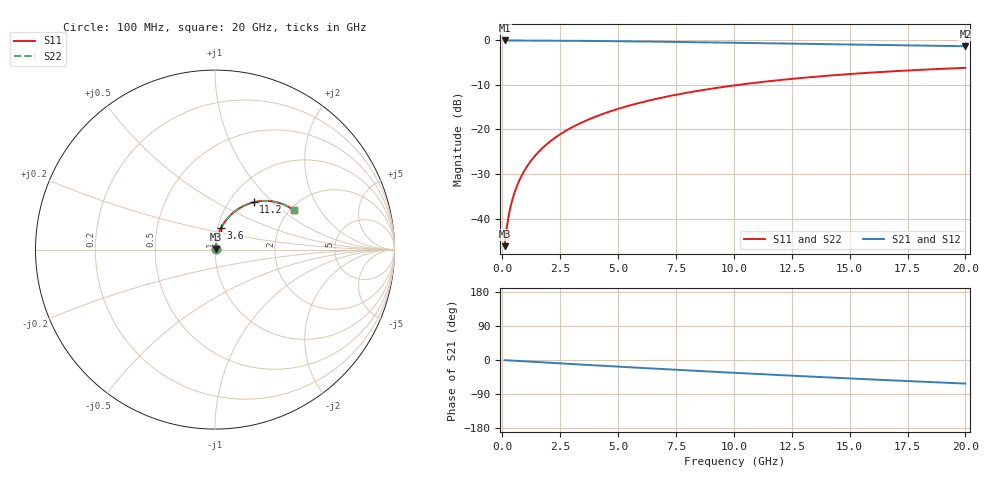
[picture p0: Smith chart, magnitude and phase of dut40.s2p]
! Touchstone file exported from HFSS 2026.1.0
!  File:  C:/ffzhzh/LocalFiles/Ansys_Project_Files/temp_train_BSMRDL_40_1782882351_8056.aedt
!  Generated:  01:07:16 PM Jul  1, 2026
!  Design:  BSMRDL
!  Project:  temp_train_BSMRDL_40_1782882351_8056
! Variables:
!  h_bsmrdl = 4.98um
!  h_ox = 20um
!  h_rdl = 5um
!  h_sub = 80um
!  h_tmrdl = 5um
!  h_tsv = 80um
!  h_via = 3um
!  l_bsmrdl = 992.42um
!  l_sub = 1392.42um
!  l_tmrdl = 200um
!  m_sub = 200um
!  pitch = 56.53um
!  r_tsv = 6um
!  s_tmrdl = 10um
!  w_bsmrdl = 25.21um
!  w_sub = 500um
!  w_tmrdl = 12um
!  x_tsv_center1 = 206um
!  x_tsv_center2 = 1223.63um
!  x_tsv_center3 = 1435.63um
!  x_tsv_center4 = 2453.26um
!  x_tsv_center5 = 2665.26um
!  x_tsv_center6 = 3682.89um
# GHz S MA R 50.000000
! Terminal data exported
! Port[1] = BSM_RDL1_1_T1
! Port[2] = BSM_RDL1_1_T2
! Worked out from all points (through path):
!   200 points, 100 MHz to 20 GHz, reference 50 ohm
!   highest |S21| = -0.03 dB at 100 MHz (marker M1); lowest = -1.3 dB at 20 GHz (marker M2)
!   group delay of S21, straight-line fit = 8.64 ps
!   lowest |S11| = -46.2 dB at 100 MHz (marker M3), VSWR 1.01, Z = 50.3 + j0.389 ohm
!   |S11| at or under -10 dB: start of sweep to 10.18 GHz
!   |S22| runs from -46.2 to -6.2 dB; largest |S21 - S12| = 2.1e-14
!   S11 on the Smith chart (normalised r, x): 100 MHz: 1.01, +0.01; 3.6 GHz: 1.04, +0.25; 11.2 GHz: 1.29, +0.77; 20 GHz: 2.10, +1.21
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0.1  0.004911 51.9  0.997 -0.4  0.997 -0.4  0.004911 51.9
! Gamma 0 0 0 0
! Port Impedance 50 0 50 0
0.2  0.008239 66.1  0.9967 -0.7  0.9967 -0.7  0.008239 66.1
0.3  0.01166 71.9  0.9965 -1.1  0.9965 -1.1  0.01166 71.9
0.4  0.01511 75.0  0.9964 -1.5  0.9964 -1.5  0.01511 75.0
0.5  0.01858 76.9  0.9962 -1.8  0.9962 -1.8  0.01858 76.9
0.7  0.02557 79.0  0.9959 -2.5  0.9959 -2.5  0.02557 79.0
1  0.03612 80.1  0.9954 -3.6  0.9954 -3.6  0.03612 80.1
1.4  0.05018 80.1  0.9945 -5.0  0.9945 -5.0  0.05018 80.1
1.7  0.06068 79.7  0.9937 -6.1  0.9937 -6.1  0.06068 79.7
2  0.07112 79.0  0.9927 -7.1  0.9927 -7.1  0.07112 79.0
2.7  0.09515 77.1  0.99 -9.6  0.99 -9.6  0.09515 77.1
3.5  0.122 74.6  0.9862 -12.4  0.9862 -12.4  0.122 74.6
3.6  0.1253 74.3  0.9857 -12.7  0.9857 -12.7  0.1253 74.3
4.3  0.1481 72.1  0.9818 -15.1  0.9818 -15.1  0.1481 72.1
5  0.1704 69.9  0.9776 -17.5  0.9776 -17.5  0.1704 69.9
6.8  0.225 64.2  0.9652 -23.5  0.9652 -23.5  0.225 64.2
8.3  0.2673 59.5  0.9536 -28.4  0.9536 -28.4  0.2674 59.5
10.1  0.3142 54.0  0.9386 -34.1  0.9386 -34.1  0.3143 54.0
11.2  0.3407 50.7  0.9291 -37.5  0.9291 -37.5  0.3407 50.7
13.4  0.3884 44.3  0.9099 -44.0  0.9099 -44.0  0.3884 44.3
16.7  0.4471 35.1  0.8825 -53.4  0.8825 -53.4  0.4472 35.2
20  0.4914 26.5  0.8589 -62.3  0.8589 -62.3  0.4915 26.5
